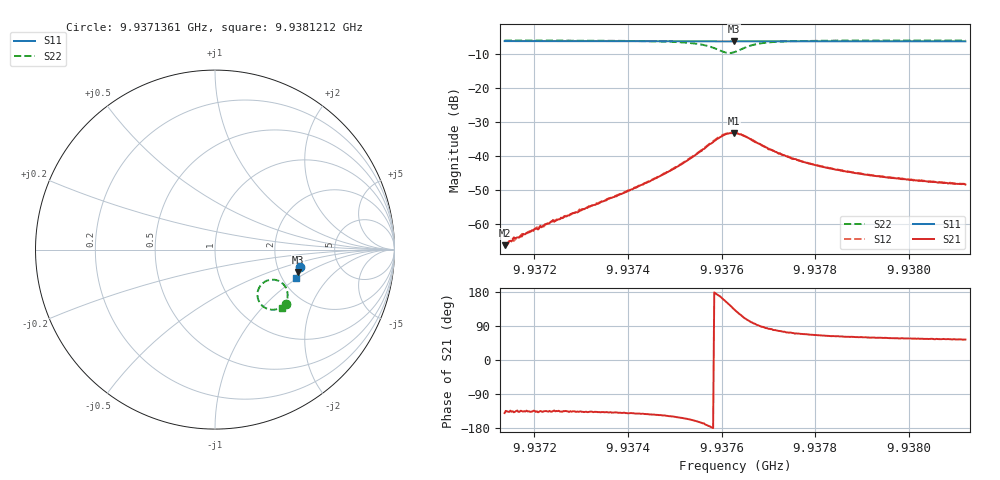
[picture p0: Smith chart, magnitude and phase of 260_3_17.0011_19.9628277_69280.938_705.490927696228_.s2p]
#  HZ  S  RI  R  50.00
! Rohde & Schwarz Vector Network Analyzer
! Rohde-Schwarz,ZNB20-2Port,1311601062101988,3.16
! Created: UTC 3/20/2024, 11:03:45 PM
! freq[Hz]  re:S11  im:S11  re:S21  im:S21  re:S12  im:S12  re:S22  im:S22
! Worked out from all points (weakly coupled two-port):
!   401 points, 9.9371361 GHz to 9.9381212 GHz, reference 50 ohm
!   highest |S21| = -33.32 dB at 9.9376262 GHz (marker M1); lowest = -66.4 dB at 9.9371361 GHz (marker M2)
!   lowest |S11| = -6.4 dB at 9.9376262 GHz (marker M3), VSWR 2.84, Z = 126 - j41.7 ohm
!   |S11| at or under -10 dB: nowhere
!   |S22| runs from -9.8 to -6.1 dB; largest |S21 - S12| = 0.001
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9.93713614e9  0.4745 -0.0964  -0.000367 -0.000309  -0.000335 -0.000323  0.3936 -0.3004
9.93714845e9  0.4742 -0.097  -0.000384 -0.000404  -0.000408 -0.000383  0.3925 -0.3014
9.9371583e9  0.4741 -0.098  -0.000445 -0.000421  -0.000419 -0.000401  0.3918 -0.3021
9.93720263e9  0.4733 -0.1009  -0.000618 -0.00058  -0.000614 -0.000591  0.3882 -0.3054
9.93723465e9  0.4726 -0.103  -0.000771 -0.000738  -0.000723 -0.000741  0.3855 -0.308
9.93730114e9  0.4715 -0.1076  -0.00116 -0.00109  -0.00119 -0.00111  0.3789 -0.3137
9.93740212e9  0.4691 -0.1143  -0.00235 -0.00195  -0.00244 -0.00194  0.3635 -0.3239
9.93746615e9  0.4677 -0.1186  -0.00405 -0.00279  -0.00413 -0.00278  0.3459 -0.3313
9.93751294e9  0.4663 -0.1218  -0.00653 -0.00341  -0.00672 -0.00337  0.3228 -0.3351
9.93756466e9  0.4645 -0.1253  -0.0127 -0.00225  -0.013 -0.00211  0.2723 -0.3199
9.93759914e9  0.4628 -0.1269  -0.0184 0.0048  -0.0188 0.00557  0.2363 -0.2535
9.93761391e9  0.4625 -0.127  -0.018 0.011  -0.018 0.0118  0.2489 -0.2074
9.93762623e9  0.4624 -0.1272  -0.015 0.0155  -0.0147 0.0161  0.2795 -0.1779
9.93762869e9  0.4625 -0.1274  -0.0143 0.0161  -0.0139 0.0168  0.2869 -0.1742
9.93765578e9  0.4629 -0.1288  -0.00486 0.0178  -0.00425 0.0179  0.3618 -0.1782
9.93768533e9  0.463 -0.1309  0.00058 0.0143  0.000824 0.0143  0.3963 -0.2148
9.93771735e9  0.4627 -0.1334  0.00237 0.0111  0.00265 0.0109  0.4044 -0.2449
9.9377469e9  0.4621 -0.1353  0.00279 0.00891  0.00299 0.00891  0.4042 -0.2631
9.9377937e9  0.4611 -0.1389  0.00298 0.00684  0.00311 0.00684  0.3999 -0.2814
9.93786512e9  0.4593 -0.1436  0.00278 0.00514  0.00292 0.00518  0.3925 -0.2978
9.9379587e9  0.457 -0.1497  0.00254 0.00402  0.00264 0.004  0.3842 -0.3106
9.93812125e9  0.4528 -0.1603  0.0022 0.00304  0.0023 0.00307  0.3724 -0.3252
